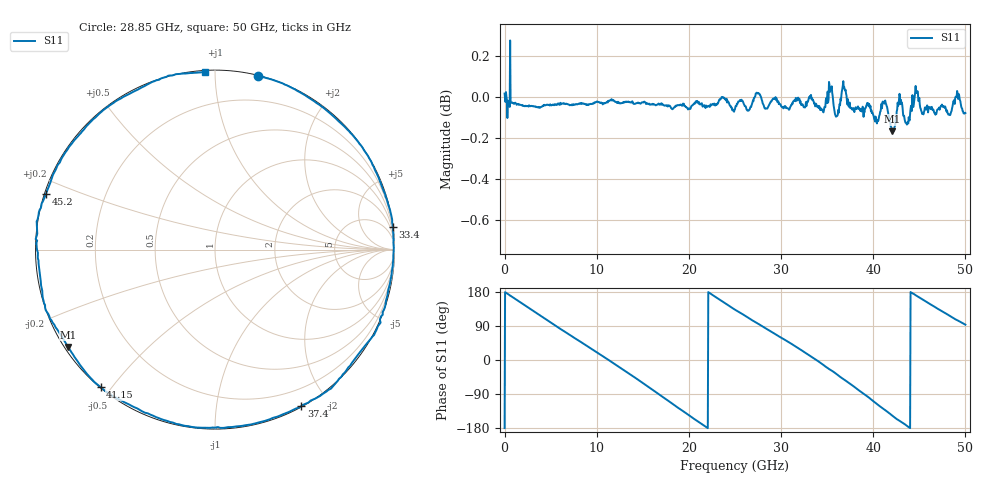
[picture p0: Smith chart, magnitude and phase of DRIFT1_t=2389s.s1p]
!Created with skrf (http://scikit-rf.org).
# Hz S RI R 50.0
!freq ReS11 ImS11
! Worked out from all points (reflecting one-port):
!   1001 points, 300 kHz to 50 GHz, reference 50 ohm
!   lowest |S11| = -0.2 dB at 42.05 GHz (marker M1), VSWR 103.47, Z = 0.527 - j15.1 ohm
!   phase of S11 starts at -180 deg and turns -807 deg over the sweep
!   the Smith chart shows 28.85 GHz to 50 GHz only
!   S11 on the Smith chart (normalised r, x): 28.85 GHz: 0.00, +1.28; 33.4 GHz: 0, +16; 37.4 GHz: 0.01, -1.69; 41.15 GHz: 0.00, -0.47; 45.2 GHz: 0.00, +0.16; 50 GHz: 0.01, +0.95
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300000  -1.002 -0.00485
1.65029e9  -0.887 0.4522
3.450279e9  -0.5505 0.8281
6.250262e9  0.1898 0.9779
9.600242e9  0.8899 0.4478
1.250022e10  0.9392 -0.3325
1.400022e10  0.7157 -0.6927
1.58502e10  0.2572 -0.9618
1.73002e10  -0.1709 -0.9804
1.875019e10  -0.5701 -0.8157
2.045018e10  -0.8914 -0.4435
2.185017e10  -0.9932 -0.0613
2.345016e10  -0.923 0.3818
2.500015e10  -0.6743 0.7291
2.710014e10  -0.1991 0.9793
2.885013e10  0.2406 0.9673
3.125011e10  0.7548 0.6499
3.34001e10  0.9904 0.1239
3.545009e10  0.8918 -0.463
3.740008e10  0.4802 -0.8726
3.750008e10  0.4522 -0.8848
3.935006e10  -0.1025 -0.9913
4.115005e10  -0.6374 -0.7659
4.205005e10  -0.8173 -0.5422
4.375004e10  -0.9831 -0.076
4.520003e10  -0.9431 0.3085
4.760001e10  -0.5932 0.7984
5e10  -0.0533 0.9895
